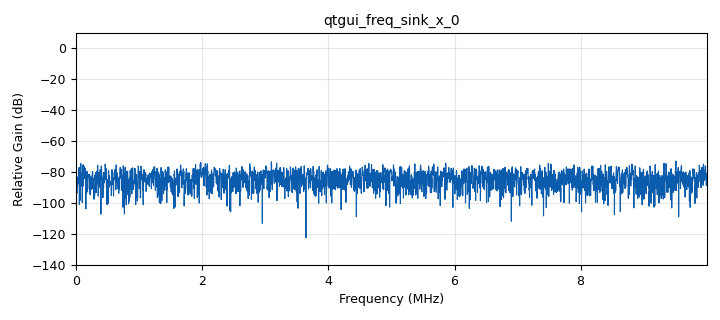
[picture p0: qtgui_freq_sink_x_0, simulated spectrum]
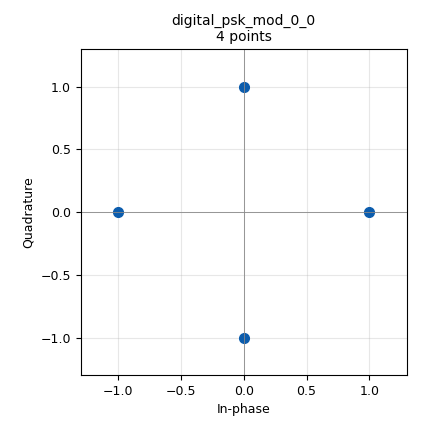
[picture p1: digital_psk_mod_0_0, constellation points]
<?xml version='1.0' encoding='utf-8'?>
<?grc format='1' created='3.7.10'?>
<flow_graph>
<block>
<key>options</key>
<param><key>id</key><value>signal_extractor</value></param>
<param><key>generate_options</key><value>qt_gui</value></param>
</block>
<block>
<key>variable</key>
<param><key>id</key><value>fft_size</value></param>
<param><key>value</key><value>500*ifft_size</value></param>
</block>
<block>
<key>variable_qtgui_range</key>
<param><key>id</key><value>freq_range</value></param>
<param><key>value</key><value>1e9</value></param>
<param><key>orient</key><value>Qt.Horizontal</value></param>
<param><key>start</key><value>1e9</value></param>
<param><key>step</key><value>100e6</value></param>
<param><key>stop</key><value>2.5e9</value></param>
</block>
<block>
<key>variable_qtgui_range</key>
<param><key>id</key><value>freq_range_coarse</value></param>
<param><key>value</key><value>-2e6</value></param>
<param><key>orient</key><value>Qt.Horizontal</value></param>
<param><key>start</key><value>-5e6</value></param>
<param><key>step</key><value>20e3</value></param>
<param><key>stop</key><value>5e6</value></param>
</block>
<block>
<key>variable_qtgui_range</key>
<param><key>id</key><value>freq_range_fine</value></param>
<param><key>value</key><value>1000000</value></param>
<param><key>orient</key><value>Qt.Horizontal</value></param>
<param><key>start</key><value>-5e6</value></param>
<param><key>step</key><value>1e3</value></param>
<param><key>stop</key><value>5e6</value></param>
</block>
<block>
<key>variable</key>
<param><key>id</key><value>ifft_size</value></param>
<param><key>value</key><value>64</value></param>
</block>
<block>
<key>variable_qtgui_check_box</key>
<param><key>id</key><value>power_switch</value></param>
<param><key>value</key><value>0</value></param>
<param><key>false</key><value>0</value></param>
<param><key>true</key><value>1</value></param>
<param><key>type</key><value>int</value></param>
</block>
<block>
<key>variable</key>
<param><key>id</key><value>samp_rate</value></param>
<param><key>value</key><value>10e6</value></param>
</block>
<block>
<key>variable_low_pass_filter_taps</key>
<param><key>id</key><value>taps</value></param>
<param><key>cutoff_freq</key><value>0.4</value></param>
<param><key>gain</key><value>1</value></param>
<param><key>samp_rate</key><value>1.0</value></param>
<param><key>width</key><value>0.495</value></param>
<param><key>win</key><value>firdes.WIN_HAMMING</value></param>
</block>
<block>
<key>analog_noise_source_x</key>
<param><key>id</key><value>analog_noise_source_x_0</value></param>
<param><key>amp</key><value>0.01</value></param>
<param><key>noise_type</key><value>analog.GR_GAUSSIAN</value></param>
<param><key>type</key><value>complex</value></param>
<param><key>seed</key><value>0</value></param>
</block>
<block>
<key>analog_random_source_x</key>
<param><key>id</key><value>analog_random_source_x_0_0_0</value></param>
<param><key>max</key><value>255</value></param>
<param><key>min</key><value>0</value></param>
<param><key>num_samps</key><value>1000000</value></param>
<param><key>type</key><value>byte</value></param>
<param><key>repeat</key><value>True</value></param>
</block>
<block>
<key>analog_random_source_x</key>
<param><key>id</key><value>analog_random_source_x_0_0_1_0</value></param>
<param><key>max</key><value>255</value></param>
<param><key>min</key><value>0</value></param>
<param><key>num_samps</key><value>10000</value></param>
<param><key>type</key><value>byte</value></param>
<param><key>repeat</key><value>True</value></param>
</block>
<block>
<key>analog_sig_source_x</key>
<param><key>id</key><value>analog_sig_source_x_0_0</value></param>
<param><key>amp</key><value>power_switch</value></param>
<param><key>freq</key><value>freq_range_coarse</value></param>
<param><key>offset</key><value>0</value></param>
<param><key>type</key><value>complex</value></param>
<param><key>samp_rate</key><value>samp_rate</value></param>
<param><key>waveform</key><value>analog.GR_COS_WAVE</value></param>
</block>
<block>
<key>analog_sig_source_x</key>
<param><key>id</key><value>analog_sig_source_x_0_0_0</value></param>
<param><key>amp</key><value>power_switch</value></param>
<param><key>freq</key><value>2E6</value></param>
<param><key>offset</key><value>0</value></param>
<param><key>type</key><value>complex</value></param>
<param><key>samp_rate</key><value>samp_rate</value></param>
<param><key>waveform</key><value>analog.GR_COS_WAVE</value></param>
</block>
<block>
<key>analog_sig_source_x</key>
<param><key>id</key><value>analog_sig_source_x_0_0_1</value></param>
<param><key>amp</key><value>1</value></param>
<param><key>_enabled</key><value>0</value></param>
<param><key>freq</key><value>freq_range_fine</value></param>
<param><key>offset</key><value>0</value></param>
<param><key>type</key><value>complex</value></param>
<param><key>samp_rate</key><value>samp_rate</value></param>
<param><key>waveform</key><value>analog.GR_COS_WAVE</value></param>
</block>
<block>
<key>blocks_add_xx</key>
<param><key>id</key><value>blocks_add_xx_0_0</value></param>
<param><key>type</key><value>complex</value></param>
<param><key>num_inputs</key><value>3</value></param>
</block>
<block>
<key>blocks_complex_to_mag_squared</key>
<param><key>id</key><value>blocks_complex_to_mag_squared_0_0</value></param>
</block>
<block>
<key>blocks_complex_to_mag_squared</key>
<param><key>id</key><value>blocks_complex_to_mag_squared_0_0_0</value></param>
<param><key>_enabled</key><value>0</value></param>
</block>
<block>
<key>blocks_message_debug</key>
<param><key>id</key><value>blocks_message_debug_0_0</value></param>
</block>
<block>
<key>blocks_multiply_const_vxx</key>
<param><key>id</key><value>blocks_multiply_const_vxx_0_0</value></param>
<param><key>const</key><value>(1.0)/fft_size</value></param>
<param><key>type</key><value>complex</value></param>
</block>
<block>
<key>blocks_multiply_xx</key>
<param><key>id</key><value>blocks_multiply_xx_0</value></param>
<param><key>type</key><value>complex</value></param>
</block>
<block>
<key>blocks_multiply_xx</key>
<param><key>id</key><value>blocks_multiply_xx_0_0</value></param>
<param><key>type</key><value>complex</value></param>
</block>
<block>
<key>blocks_nlog10_ff</key>
<param><key>id</key><value>blocks_nlog10_ff_0</value></param>
<param><key>_enabled</key><value>0</value></param>
<param><key>k</key><value>0</value></param>
<param><key>n</key><value>10</value></param>
</block>
<block>
<key>blocks_nlog10_ff</key>
<param><key>id</key><value>blocks_nlog10_ff_0_0</value></param>
<param><key>_enabled</key><value>0</value></param>
<param><key>k</key><value>0</value></param>
<param><key>n</key><value>10</value></param>
</block>
<block>
<key>blocks_null_sink</key>
<param><key>id</key><value>blocks_null_sink_0</value></param>
<param><key>bus_conns</key><value>[[0,],]</value></param>
<param><key>_enabled</key><value>0</value></param>
<param><key>type</key><value>complex</value></param>
</block>
<block>
<key>blocks_stream_to_vector</key>
<param><key>id</key><value>blocks_stream_to_vector_1</value></param>
<param><key>type</key><value>complex</value></param>
<param><key>num_items</key><value>fft_size</value></param>
</block>
<block>
<key>blocks_stream_to_vector</key>
<param><key>id</key><value>blocks_stream_to_vector_1_0</value></param>
<param><key>_enabled</key><value>0</value></param>
<param><key>type</key><value>complex</value></param>
<param><key>num_items</key><value>1024</value></param>
</block>
<block>
<key>blocks_throttle</key>
<param><key>id</key><value>blocks_throttle_0</value></param>
<param><key>samples_per_second</key><value>samp_rate</value></param>
<param><key>type</key><value>complex</value></param>
</block>
<block>
<key>blocks_vector_to_stream</key>
<param><key>id</key><value>blocks_vector_to_stream_1</value></param>
<param><key>type</key><value>complex</value></param>
<param><key>num_items</key><value>fft_size</value></param>
</block>
<block>
<key>blocks_vector_to_stream</key>
<param><key>id</key><value>blocks_vector_to_stream_1_0</value></param>
<param><key>_enabled</key><value>0</value></param>
<param><key>type</key><value>complex</value></param>
<param><key>num_items</key><value>1024</value></param>
</block>
<block>
<key>digital_gmsk_mod</key>
<param><key>id</key><value>digital_gmsk_mod_0</value></param>
<param><key>bt</key><value>0.35</value></param>
<param><key>samples_per_symbol</key><value>128</value></param>
</block>
<block>
<key>digital_psk_mod</key>
<param><key>id</key><value>digital_psk_mod_0_0</value></param>
<param><key>differential</key><value>True</value></param>
<param><key>excess_bw</key><value>0.35</value></param>
<param><key>mod_code</key><value>"gray"</value></param>
<param><key>constellation_points</key><value>4</value></param>
<param><key>samples_per_symbol</key><value>64</value></param>
</block>
<block>
<key>fft_vxx</key>
<param><key>id</key><value>fft_vxx_1</value></param>
<param><key>fft_size</key><value>fft_size</value></param>
<param><key>forward</key><value>True</value></param>
<param><key>type</key><value>complex</value></param>
<param><key>shift</key><value>True</value></param>
<param><key>window</key><value></value></param>
</block>
<block>
<key>fft_vxx</key>
<param><key>id</key><value>fft_vxx_1_0</value></param>
<param><key>_enabled</key><value>0</value></param>
<param><key>fft_size</key><value>1024</value></param>
<param><key>forward</key><value>True</value></param>
<param><key>type</key><value>complex</value></param>
<param><key>shift</key><value>True</value></param>
<param><key>window</key><value></value></param>
</block>
<block>
<key>osmosdr_source</key>
<param><key>id</key><value>osmosdr_source_0</value></param>
<param><key>bb_gain0</key><value>20</value></param>
<param><key>freq0</key><value>freq_range</value></param>
<param><key>gain_mode0</key><value>False</value></param>
<param><key>if_gain0</key><value>20</value></param>
<param><key>gain0</key><value>10</value></param>
<param><key>args</key><value>bladerf=0,fpga='/home/ctriant/hostedx115-latest.rbf'</value></param>
<param><key>_enabled</key><value>0</value></param>
<param><key>type</key><value>fc32</value></param>
<param><key>sample_rate</key><value>samp_rate</value></param>
<param><key>sync</key><value></value></param>
</block>
<block>
<key>phasma_eigenvalue_signal_detector</key>
<param><key>id</key><value>phasma_eigenvalue_signal_detector_0</value></param>
<param><key>actual_bw</key><value>samp_rate</value></param>
<param><key>eigen_samples</key><value>128</value></param>
<param><key>fft_size</key><value>32000</value></param>
<param><key>pfa</key><value>0.01</value></param>
<param><key>noise_floor_est_cnt</key><value>300</value></param>
<param><key>sampling_rate</key><value>samp_rate</value></param>
<param><key>smoothing_factor</key><value>10</value></param>
</block>
<block>
<key>phasma_opencv_predict</key>
<param><key>id</key><value>phasma_opencv_predict_0</value></param>
<param><key>classifier_type</key><value>0</value></param>
<param><key>nlabels</key><value>16</value></param>
<param><key>data_type</key><value>3</value></param>
<param><key>npredictors</key><value>128</value></param>
<param><key>filename</key><value>/home/ctriant/model.xml</value></param>
</block>
<block>
<key>phasma_sigmf_debug</key>
<param><key>id</key><value>phasma_sigmf_debug_0</value></param>
<param><key>conseq_channel_num</key><value>500</value></param>
<param><key>ifft_size</key><value>ifft_size</value></param>
</block>
<block>
<key>phasma_signal_extractor</key>
<param><key>id</key><value>phasma_signal_extractor_0</value></param>
<param><key>channel_bw</key><value>20e3</value></param>
<param><key>threshold_db</key><value>-80</value></param>
<param><key>threshold_margin_db</key><value>10</value></param>
<param><key>ifft_size</key><value>ifft_size</value></param>
<param><key>min_sig_bw</key><value>20e3</value></param>
<param><key>sig_num</key><value>100</value></param>
<param><key>samp_rate</key><value>10e6</value></param>
<param><key>signal_duration</key><value>100e-3</value></param>
<param><key>silence_guardband</key><value>8e3</value></param>
<param><key>taps</key><value>taps</value></param>
</block>
<block>
<key>qtgui_freq_sink_x</key>
<param><key>id</key><value>qtgui_freq_sink_x_0</value></param>
<param><key>bw</key><value>samp_rate</value></param>
<param><key>fc</key><value>samp_rate/2</value></param>
<param><key>fftsize</key><value>4096</value></param>
<param><key>showports</key><value>True</value></param>
<param><key>type</key><value>complex</value></param>
<param><key>update_time</key><value>0.5</value></param>
<param><key>wintype</key><value>firdes.WIN_BLACKMAN_hARRIS</value></param>
</block>
<block>
<key>qtgui_time_sink_x</key>
<param><key>id</key><value>qtgui_time_sink_x_0</value></param>
<param><key>autoscale</key><value>True</value></param>
<param><key>_enabled</key><value>0</value></param>
<param><key>color1</key><value>"blue"</value></param>
<param><key>label1</key><value></value></param>
<param><key>color2</key><value>"red"</value></param>
<param><key>label2</key><value></value></param>
<param><key>name</key><value>"After IFFT"</value></param>
<param><key>nconnections</key><value>2</value></param>
<param><key>size</key><value>4096</value></param>
<param><key>srate</key><value>samp_rate</value></param>
<param><key>type</key><value>float</value></param>
<param><key>update_time</key><value>1</value></param>
</block>
<block>
<key>qtgui_time_sink_x</key>
<param><key>id</key><value>qtgui_time_sink_x_0_0</value></param>
<param><key>autoscale</key><value>True</value></param>
<param><key>_enabled</key><value>0</value></param>
<param><key>color1</key><value>"blue"</value></param>
<param><key>label1</key><value></value></param>
<param><key>name</key><value>"Before IFFT"</value></param>
<param><key>size</key><value>fft_size</value></param>
<param><key>srate</key><value>samp_rate</value></param>
<param><key>type</key><value>float</value></param>
<param><key>update_time</key><value>0.010</value></param>
</block>
<block>
<key>qtgui_time_sink_x</key>
<param><key>id</key><value>qtgui_time_sink_x_0_1</value></param>
<param><key>autoscale</key><value>True</value></param>
<param><key>color1</key><value>"blue"</value></param>
<param><key>label1</key><value></value></param>
<param><key>color2</key><value>"red"</value></param>
<param><key>label2</key><value></value></param>
<param><key>name</key><value>"After IFFT"</value></param>
<param><key>size</key><value>4096</value></param>
<param><key>srate</key><value>samp_rate</value></param>
<param><key>type</key><value>complex</value></param>
<param><key>update_time</key><value>1</value></param>
</block>
<block>
<key>uhd_usrp_source</key>
<param><key>id</key><value>uhd_usrp_source_0</value></param>
<param><key>ant0</key><value>RX2</value></param>
<param><key>bw0</key><value>samp_rate</value></param>
<param><key>center_freq0</key><value>1e9</value></param>
<param><key>dc_offs_enb0</key><value>""</value></param>
<param><key>iq_imbal_enb0</key><value>""</value></param>
<param><key>norm_gain0</key><value>False</value></param>
<param><key>gain0</key><value>25</value></param>
<param><key>clock_rate</key><value>0.0</value></param>
<param><key>dev_args</key><value>""</value></param>
<param><key>_enabled</key><value>0</value></param>
<param><key>type</key><value>fc32</value></param>
<param><key>samp_rate</key><value>samp_rate</value></param>
<param><key>hide_cmd_port</key><value>False</value></param>
<param><key>hide_lo_controls</key><value>True</value></param>
<param><key>sync</key><value></value></param>
</block>
<connection><source_block_id>analog_noise_source_x_0</source_block_id><sink_block_id>blocks_add_xx_0_0</sink_block_id><source_key>0</source_key><sink_key>0</sink_key></connection>
<connection><source_block_id>analog_random_source_x_0_0_0</source_block_id><sink_block_id>digital_gmsk_mod_0</sink_block_id><source_key>0</source_key><sink_key>0</sink_key></connection>
<connection><source_block_id>analog_random_source_x_0_0_1_0</source_block_id><sink_block_id>digital_psk_mod_0_0</sink_block_id><source_key>0</source_key><sink_key>0</sink_key></connection>
<connection><source_block_id>analog_sig_source_x_0_0</source_block_id><sink_block_id>blocks_multiply_xx_0</sink_block_id><source_key>0</source_key><sink_key>1</sink_key></connection>
<connection><source_block_id>analog_sig_source_x_0_0_0</source_block_id><sink_block_id>blocks_multiply_xx_0_0</sink_block_id><source_key>0</source_key><sink_key>1</sink_key></connection>
<connection><source_block_id>analog_sig_source_x_0_0_1</source_block_id><sink_block_id>blocks_multiply_xx_0</sink_block_id><source_key>0</source_key><sink_key>0</sink_key></connection>
<connection><source_block_id>blocks_add_xx_0_0</source_block_id><sink_block_id>blocks_throttle_0</sink_block_id><source_key>0</source_key><sink_key>0</sink_key></connection>
<connection><source_block_id>blocks_complex_to_mag_squared_0_0</source_block_id><sink_block_id>blocks_nlog10_ff_0_0</sink_block_id><source_key>0</source_key><sink_key>0</sink_key></connection>
<connection><source_block_id>blocks_complex_to_mag_squared_0_0</source_block_id><sink_block_id>phasma_signal_extractor_0</sink_block_id><source_key>0</source_key><sink_key>0</sink_key></connection>
<connection><source_block_id>blocks_complex_to_mag_squared_0_0_0</source_block_id><sink_block_id>blocks_nlog10_ff_0</sink_block_id><source_key>0</source_key><sink_key>0</sink_key></connection>
<connection><source_block_id>blocks_multiply_const_vxx_0_0</source_block_id><sink_block_id>blocks_complex_to_mag_squared_0_0</sink_block_id><source_key>0</source_key><sink_key>0</sink_key></connection>
<connection><source_block_id>blocks_multiply_xx_0</source_block_id><sink_block_id>blocks_add_xx_0_0</sink_block_id><source_key>0</source_key><sink_key>1</sink_key></connection>
<connection><source_block_id>blocks_multiply_xx_0_0</source_block_id><sink_block_id>blocks_add_xx_0_0</sink_block_id><source_key>0</source_key><sink_key>2</sink_key></connection>
<connection><source_block_id>blocks_nlog10_ff_0</source_block_id><sink_block_id>qtgui_time_sink_x_0</sink_block_id><source_key>0</source_key><sink_key>0</sink_key></connection>
<connection><source_block_id>blocks_nlog10_ff_0_0</source_block_id><sink_block_id>qtgui_time_sink_x_0_0</sink_block_id><source_key>0</source_key><sink_key>0</sink_key></connection>
<connection><source_block_id>blocks_stream_to_vector_1</source_block_id><sink_block_id>fft_vxx_1</sink_block_id><source_key>0</source_key><sink_key>0</sink_key></connection>
<connection><source_block_id>blocks_stream_to_vector_1_0</source_block_id><sink_block_id>fft_vxx_1_0</sink_block_id><source_key>0</source_key><sink_key>0</sink_key></connection>
<connection><source_block_id>blocks_throttle_0</source_block_id><sink_block_id>blocks_stream_to_vector_1</sink_block_id><source_key>0</source_key><sink_key>0</sink_key></connection>
<connection><source_block_id>blocks_throttle_0</source_block_id><sink_block_id>phasma_eigenvalue_signal_detector_0</sink_block_id><source_key>0</source_key><sink_key>0</sink_key></connection>
<connection><source_block_id>blocks_throttle_0</source_block_id><sink_block_id>phasma_signal_extractor_0</sink_block_id><source_key>0</source_key><sink_key>1</sink_key></connection>
<connection><source_block_id>blocks_throttle_0</source_block_id><sink_block_id>qtgui_freq_sink_x_0</sink_block_id><source_key>0</source_key><sink_key>0</sink_key></connection>
<connection><source_block_id>blocks_vector_to_stream_1</source_block_id><sink_block_id>blocks_multiply_const_vxx_0_0</sink_block_id><source_key>0</source_key><sink_key>0</sink_key></connection>
<connection><source_block_id>blocks_vector_to_stream_1_0</source_block_id><sink_block_id>blocks_complex_to_mag_squared_0_0_0</sink_block_id><source_key>0</source_key><sink_key>0</sink_key></connection>
<connection><source_block_id>digital_gmsk_mod_0</source_block_id><sink_block_id>blocks_multiply_xx_0_0</sink_block_id><source_key>0</source_key><sink_key>0</sink_key></connection>
<connection><source_block_id>digital_psk_mod_0_0</source_block_id><sink_block_id>blocks_multiply_xx_0</sink_block_id><source_key>0</source_key><sink_key>0</sink_key></connection>
<connection><source_block_id>fft_vxx_1</source_block_id><sink_block_id>blocks_vector_to_stream_1</sink_block_id><source_key>0</source_key><sink_key>0</sink_key></connection>
<connection><source_block_id>fft_vxx_1_0</source_block_id><sink_block_id>blocks_vector_to_stream_1_0</sink_block_id><source_key>0</source_key><sink_key>0</sink_key></connection>
<connection><source_block_id>osmosdr_source_0</source_block_id><sink_block_id>blocks_stream_to_vector_1</sink_block_id><source_key>0</source_key><sink_key>0</sink_key></connection>
<connection><source_block_id>osmosdr_source_0</source_block_id><sink_block_id>phasma_eigenvalue_signal_detector_0</sink_block_id><source_key>0</source_key><sink_key>0</sink_key></connection>
<connection><source_block_id>phasma_eigenvalue_signal_detector_0</source_block_id><sink_block_id>phasma_signal_extractor_0</sink_block_id><source_key>threshold</source_key><sink_key>threshold_rcv</sink_key></connection>
<connection><source_block_id>phasma_opencv_predict_0</source_block_id><sink_block_id>blocks_message_debug_0_0</sink_block_id><source_key>classification</source_key><sink_key>print</sink_key></connection>
<connection><source_block_id>phasma_sigmf_debug_0</source_block_id><sink_block_id>blocks_null_sink_0</sink_block_id><source_key>0</source_key><sink_key>0</sink_key></connection>
<connection><source_block_id>phasma_sigmf_debug_0</source_block_id><sink_block_id>blocks_stream_to_vector_1_0</sink_block_id><source_key>0</source_key><sink_key>0</sink_key></connection>
<connection><source_block_id>phasma_sigmf_debug_0</source_block_id><sink_block_id>qtgui_time_sink_x_0_1</sink_block_id><source_key>0</source_key><sink_key>0</sink_key></connection>
<connection><source_block_id>phasma_signal_extractor_0</source_block_id><sink_block_id>phasma_opencv_predict_0</sink_block_id><source_key>out</source_key><sink_key>in</sink_key></connection>
<connection><source_block_id>phasma_signal_extractor_0</source_block_id><sink_block_id>phasma_sigmf_debug_0</sink_block_id><source_key>out</source_key><sink_key>sigmf</sink_key></connection>
<connection><source_block_id>uhd_usrp_source_0</source_block_id><sink_block_id>blocks_stream_to_vector_1</sink_block_id><source_key>0</source_key><sink_key>0</sink_key></connection>
<connection><source_block_id>uhd_usrp_source_0</source_block_id><sink_block_id>phasma_eigenvalue_signal_detector_0</sink_block_id><source_key>0</source_key><sink_key>0</sink_key></connection>
</flow_graph>
